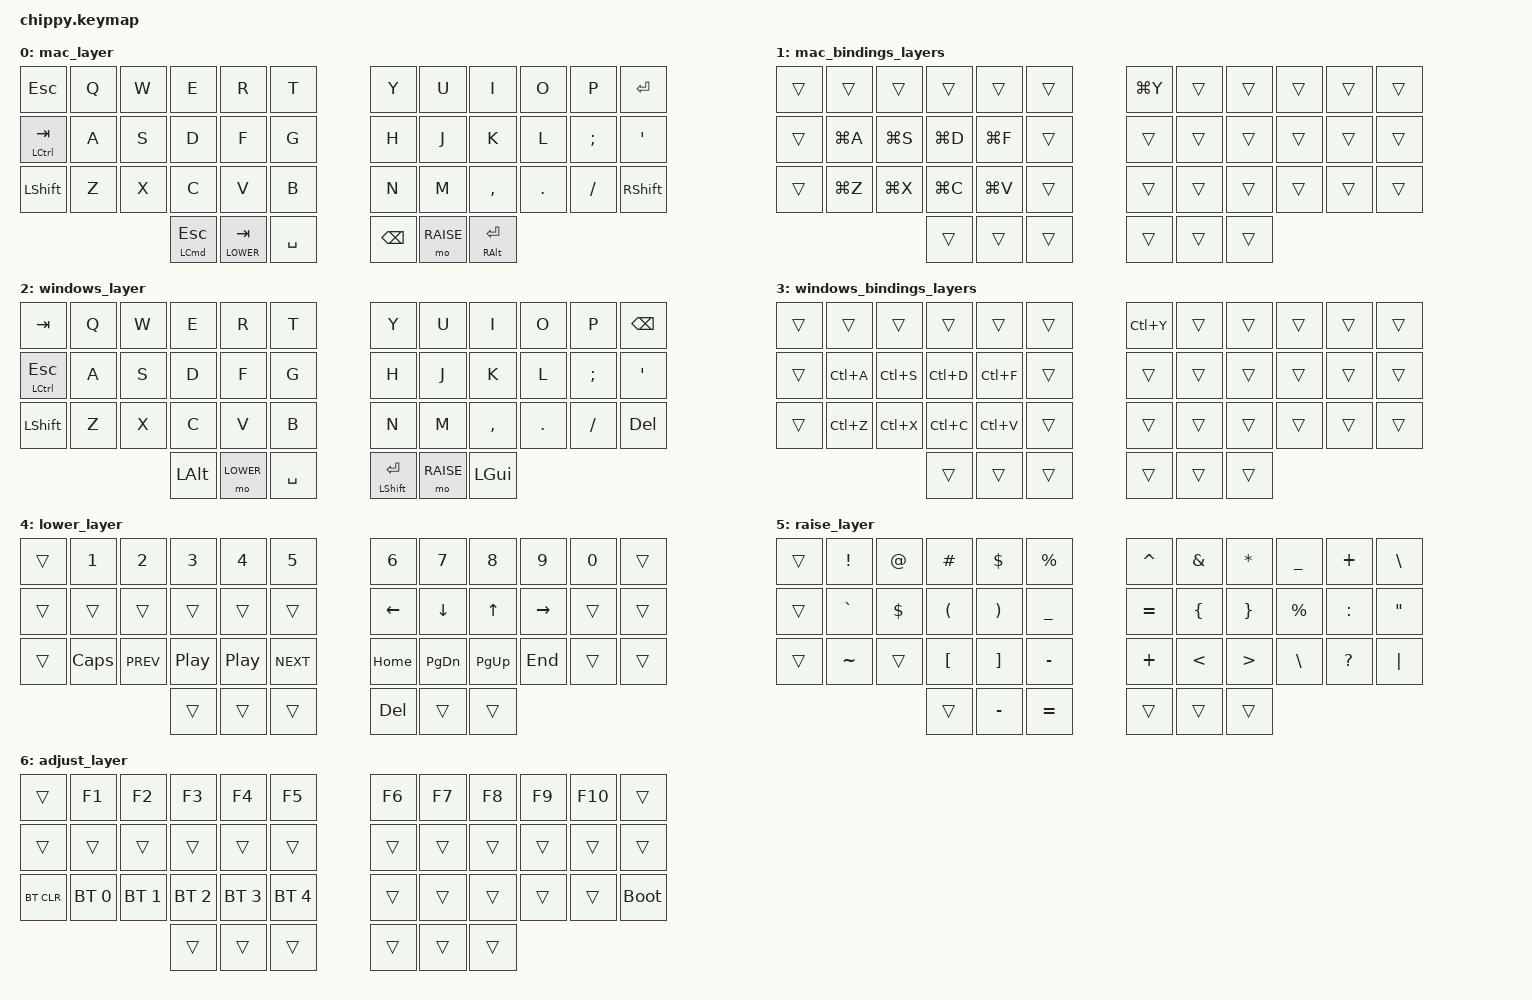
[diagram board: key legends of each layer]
/*
* Copyright (c) 2020 The ZMK Contributors
*
* SPDX-License-Identifier: MIT
*/

#include <behaviors.dtsi>
#include <dt-bindings/zmk/bt.h>
#include <dt-bindings/zmk/keys.h>

#define MAC 0
#define MAC_BINDINGS 1
#define WINDOWS 2
#define WINDOWS_BINDINGS 3
#define LOWER   4
#define RAISE   5
#define ADJUST  6
#define LT0  5  // left-top row
#define LT1  4
#define LT2  3
#define LT3  2
#define LT4  1
#define LT5  0
#define RT0  6  // right-top row
#define RT1  7
#define RT2  8
#define RT3  9
#define RT4 10
#define RT5 11
#define LM0 17  // left-middle row
#define LM1 16
#define LM2 15
#define LM3 14
#define LM4 13
#define LM5 12
#define RM0 18  // right-middle row
#define RM1 19
#define RM2 20
#define RM3 21
#define RM4 22
#define RM5 23
#define LB0 29  // left-bottom row
#define LB1 28
#define LB2 27
#define LB3 26
#define LB4 25
#define LB5 24
#define RB0 30  // right-bottom row
#define RB1 31
#define RB2 32
#define RB3 33
#define RB4 34
#define RB5 35
#define LH0 38  // left thumb keys
#define LH1 37
#define LH2 36
#define RH0 39  // right thumb keys
#define RH1 40
#define RH2 41

/ {
    conditional_layers {
        compatible = "zmk,conditional-layers";

        tri_layer {
            if-layers = <LOWER RAISE>;
            then-layer = <ADJUST>;
        };
    };

    macros {
        ZMK_MACRO(switch_to_mac, bindings= <&bt BT_SEL 0 &to MAC>;)
        ZMK_MACRO(switch_to_ipad, bindings= <&bt BT_SEL 2 &to MAC>;)
        ZMK_MACRO(switch_to_windows,

        bindings = <&bt BT_SEL 1 &to WINDOWS>;

        )

        win_app_sw: win_app_sw {
            label = "WINDOWS_APP_SWITCHER";
            compatible = "zmk,behavior-macro";
            #binding-cells = <0>;
            bindings =
                <&macro_press>,
                <&kp LALT>,
                <&macro_tap>,
                <&kp TAB>,
                <&macro_press>,
                <&mo LOWER>,
                <&macro_pause_for_release>,
                <&macro_release>,
                <&mo LOWER>,
                <&macro_release>,
                <&kp LALT>;
        };

        mac_app_sw: mac_app_sw {
            label = "MAC_APP_SWITCHER";
            compatible = "zmk,behavior-macro";
            #binding-cells = <0>;
            bindings =
                <&macro_press>,
                <&kp LGUI>,
                <&macro_tap>,
                <&kp TAB>,
                <&macro_press>,
                <&mo LOWER>,
                <&macro_pause_for_release>,
                <&macro_release>,
                <&mo LOWER>,
                <&macro_release>,
                <&kp LGUI>;
        };
    };

    combos {
        compatible = "zmk,combos";

        combo_spotlight {
            timeout-ms = <15>;
            key-positions = <LH0 RH0>;
            bindings = <&kp LG(SPACE)>;
            layers = <MAC>;
        };

        combo_spotlight_windows {
            timeout-ms = <15>;
            key-positions = <LH0 RH0>;
            bindings = <&kp LA(SPACE)>;
            layers = <WINDOWS>;
        };

        combo_app_switcher_windows {
            timeout-ms = <15>;
            key-positions = <LM4 LM3 LM2 LM1>;
            bindings = <&win_app_sw>;
            layers = <WINDOWS>;
        };

        combo_copy_windows {
            timeout-ms = <15>;
            key-positions = <LB3 LB2>;
            bindings = <&kp LC(C)>;
            layers = <WINDOWS>;
        };

        combo_paste_windows {
            timeout-ms = <15>;
            key-positions = <LB2 LB1>;
            bindings = <&kp LC(V)>;
            layers = <WINDOWS>;
        };

        combo_cut_windows {
            timeout-ms = <15>;
            key-positions = <LB3 LB1>;
            bindings = <&kp LC(X)>;
            layers = <WINDOWS>;
        };

        combo_undo_windows {
            timeout-ms = <15>;
            key-positions = <LB4 LB3>;
            bindings = <&kp LC(Z)>;
            layers = <WINDOWS>;
        };

        combo_select_windows {
            timeout-ms = <15>;
            key-positions = <LM4 LM1>;
            bindings = <&kp LC(A)>;
            layers = <WINDOWS>;
        };

        /*
        combo_save_windows {         
                timeout-ms = <15>;
                key-positions = <LM4 LM3>;
                bindings = <&kp LC(S)>;
                layers = <WINDOWS>;
        };*/

        combo_find_windows {
            timeout-ms = <15>;
            key-positions = <LM2 LM1>;
            bindings = <&kp LC(F)>;
            layers = <WINDOWS>;
        };

        combo_close_window_windows {
            timeout-ms = <15>;
            key-positions = <LT3 LT1>;
            bindings = <&kp LC(W)>;
            layers = <WINDOWS>;
        };

        combo_app_switcher_mac {
            timeout-ms = <15>;
            key-positions = <LM4 LM3 LM2 LM1>;
            bindings = <&mac_app_sw>;
            layers = <MAC>;
        };

        combo_copy_mac {
            timeout-ms = <15>;
            key-positions = <LB3 LB2>;
            bindings = <&kp LG(C)>;
            layers = <MAC>;
        };

        combo_paste_mac {
            timeout-ms = <15>;
            key-positions = <LB2 LB1>;
            bindings = <&kp LG(V)>;
            layers = <MAC>;
        };

        combo_cut_mac {
            timeout-ms = <15>;
            key-positions = <LB3 LB1>;
            bindings = <&kp LG(X)>;
            layers = <MAC>;
        };

        combo_undo_mac {
            timeout-ms = <15>;
            key-positions = <LB4 LB3>;
            bindings = <&kp LG(Z)>;
            layers = <MAC>;
        };

        combo_select_mac {
            timeout-ms = <15>;
            key-positions = <LM4 LM1>;
            bindings = <&kp LG(A)>;
            layers = <MAC>;
        };/*
        combo_save_mac {         
                timeout-ms = <15>;
                key-positions = <LM4 LM3>;
                bindings = <&kp LG(S)>;
                layers = <MAC>;
        };*/
        combo_find_mac {
            timeout-ms = <15>;
            key-positions = <LM2 LM1>;
            bindings = <&kp LG(F)>;
            layers = <MAC>;
        };

        combo_close_window_mac {
            timeout-ms = <15>;
            key-positions = <LT3 LT1>;
            bindings = <&kp LG(W)>;
            layers = <MAC>;
        };
    };

    keymap {
        compatible = "zmk,keymap";

        mac_layer {
            bindings = <
&kp ESCAPE            &kp Q  &kp W  &kp E                    &kp R          &kp T        &kp Y          &kp U      &kp I                 &kp O    &kp P     &kp ENTER
&mt LEFT_CONTROL TAB  &kp A  &kp S  &kp D                    &kp F          &kp G        &kp H          &kp J      &kp K                 &kp L    &kp SEMI  &kp SQT
&kp LEFT_SHIFT        &kp Z  &kp X  &kp C                    &kp V          &kp B        &kp N          &kp M      &kp COMMA             &kp DOT  &kp FSLH  &kp RIGHT_SHIFT
                                    &mt LEFT_COMMAND ESCAPE  &lt LOWER TAB  &kp SPACE    &kp BACKSPACE  &mo RAISE  &mt RIGHT_ALT RETURN
            >;
        };

        mac_bindings_layers {
            bindings = <
&trans  &trans     &trans     &trans     &trans     &trans    &kp LG(Y)  &trans  &trans  &trans  &trans  &trans
&trans  &kp LG(A)  &kp LG(S)  &kp LG(D)  &kp LG(F)  &trans    &trans     &trans  &trans  &trans  &trans  &trans
&trans  &kp LG(Z)  &kp LG(X)  &kp LG(C)  &kp LG(V)  &trans    &trans     &trans  &trans  &trans  &trans  &trans
                              &trans     &trans     &trans    &trans     &trans  &trans
            >;
        };

        windows_layer {
            bindings = <
&kp TAB        &kp Q  &kp W  &kp E     &kp R      &kp T        &kp Y           &kp U      &kp I      &kp O    &kp P     &kp BSPC
&mt LCTRL ESC  &kp A  &kp S  &kp D     &kp F      &kp G        &kp H           &kp J      &kp K      &kp L    &kp SEMI  &kp SQT
&kp LSHFT      &kp Z  &kp X  &kp C     &kp V      &kp B        &kp N           &kp M      &kp COMMA  &kp DOT  &kp FSLH  &kp DEL
                             &kp LALT  &mo LOWER  &kp SPACE    &mt LSHIFT RET  &mo RAISE  &kp LGUI
            >;
        };

        windows_bindings_layers {
            bindings = <
&trans  &trans     &trans     &trans     &trans     &trans    &kp LC(Y)  &trans  &trans  &trans  &trans  &trans
&trans  &kp LC(A)  &kp LC(S)  &kp LC(D)  &kp LC(F)  &trans    &trans     &trans  &trans  &trans  &trans  &trans
&trans  &kp LC(Z)  &kp LC(X)  &kp LC(C)  &kp LC(V)  &trans    &trans     &trans  &trans  &trans  &trans  &trans
                              &trans     &trans     &trans    &trans     &trans  &trans
            >;
        };

        lower_layer {
            bindings = <
&trans  &kp N1    &kp N2      &kp N3    &kp N4    &kp N5        &kp N6      &kp N7         &kp N8       &kp N9     &kp N0  &trans
&trans  &trans    &trans      &trans    &trans    &trans        &kp LEFT    &kp DOWN       &kp UP       &kp RIGHT  &trans  &trans
&trans  &kp CAPS  &kp C_PREV  &kp C_PP  &kp C_PP  &kp C_NEXT    &kp HOME    &kp PAGE_DOWN  &kp PAGE_UP  &kp END    &trans  &trans
                              &trans    &trans    &trans        &kp DELETE  &trans         &trans
            >;
        };

        raise_layer {
            bindings = <
&trans  &kp EXCL   &kp AT      &kp HASH              &kp DLLR               &kp PRCNT         &kp CARET  &kp AMPS        &kp ASTERISK      &kp UNDERSCORE  &kp PLUS      &kp BACKSLASH
&trans  &kp GRAVE  &kp DOLLAR  &kp LEFT_PARENTHESIS  &kp RIGHT_PARENTHESIS  &kp UNDERSCORE    &kp EQUAL  &kp LEFT_BRACE  &kp RIGHT_BRACE   &kp PERCENT     &kp COLON     &kp DOUBLE_QUOTES
&trans  &kp TILDE  &trans      &kp LEFT_BRACKET      &kp RIGHT_BRACKET      &kp MINUS         &kp PLUS   &kp LESS_THAN   &kp GREATER_THAN  &kp BACKSLASH   &kp QUESTION  &kp PIPE
                               &trans                &kp MINUS              &kp EQUAL         &trans     &trans          &trans
            >;
        };

        adjust_layer {
            bindings = <
&trans      &kp F1        &kp F2        &kp F3        &kp F4        &kp F5          &kp F6  &kp F7  &kp F8  &kp F9  &kp F10  &trans
&trans      &trans        &trans        &trans        &trans        &trans          &trans  &trans  &trans  &trans  &trans   &trans
&bt BT_CLR  &bt BT_SEL 0  &bt BT_SEL 1  &bt BT_SEL 2  &bt BT_SEL 3  &bt BT_SEL 4    &trans  &trans  &trans  &trans  &trans   &bootloader
                                        &trans        &trans        &trans          &trans  &trans  &trans
            >;
        };
    };
};
